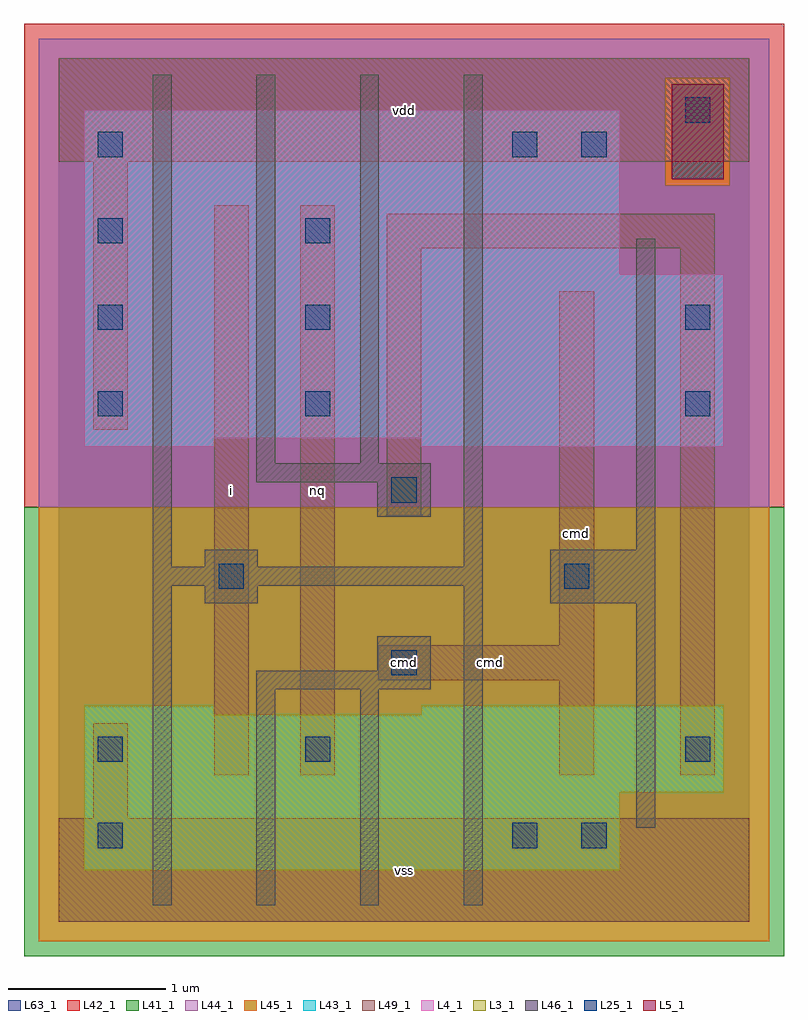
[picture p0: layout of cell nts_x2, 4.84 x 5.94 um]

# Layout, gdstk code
import gdstk
lib = gdstk.Library(unit=1e-6, precision=1e-09)
def R(c, l, rs):  # rectangles x0, y0, x1, y1
    for r in rs: c.add(gdstk.rectangle(r[:2], r[2:], *l))
def A(c, l, x, y, w, h, nx, ny, dx, dy):  # array of equal rectangles
    R(c, l, [(x+i*dx, y+j*dy, x+i*dx+w, y+j*dy+h) for i in range(nx) for j in range(ny)])
L3_1 = (3, 1)
L4_1 = (4, 1)
L5_1 = (5, 1)
L25_1 = (25, 1)
L41_1 = (41, 1)
L42_1 = (42, 1)
L43_1 = (43, 1)
L44_1 = (44, 1)
L45_1 = (45, 1)
L46_1 = (46, 1)
L49_1 = (49, 1)
L63_1 = (63, 1)

nts_x2 = lib.new_cell('nts_x2')
R(nts_x2, L3_1, [(0.165,0.33,3.575,0.825), (0.165,0.825,4.235,1.32), (0.165,1.32,0.99,1.375), (2.31,1.32,4.235,1.375)])
R(nts_x2, L4_1, [(0.165,3.025,0.99,3.08), (2.31,3.025,4.235,3.08), (0.165,3.08,4.235,4.125), (0.165,4.125,3.575,5.17)])
R(nts_x2, L5_1, [(3.905,4.73,4.235,5.335)])
A(nts_x2, L25_1, 0.25, 3.22, 0.16, 0.16, 1, 4, 0, 0.55)
A(nts_x2, L25_1, 1.57, 3.22, 0.16, 0.16, 1, 3, 0, 0.55)
R(nts_x2, L25_1, [(0.25,0.47,0.41,0.63), (2.89,0.47,3.05,0.63), (3.33,0.47,3.49,0.63), (0.25,1.02,0.41,1.18), (1.57,1.02,1.73,1.18), (3.99,1.02,4.15,1.18), (2.12,1.57,2.28,1.73), (1.02,2.12,1.18,2.28), (3.22,2.12,3.38,2.28), (2.12,2.67,2.28,2.83), (3.99,3.22,4.15,3.38), (3.99,3.77,4.15,3.93), (2.89,4.87,3.05,5.03), (3.33,4.87,3.49,5.03), (3.99,5.09,4.15,5.25)])
R(nts_x2, L41_1, [(-0.22,-0.22,4.62,2.64)])
R(nts_x2, L42_1, [(-0.22,2.64,4.62,5.72)])
R(nts_x2, L43_1, [(0.165,0.33,3.575,0.825), (0.165,0.825,4.235,1.32), (0.165,1.32,0.99,1.375), (2.31,1.32,4.235,1.375), (0.165,3.025,0.99,3.08), (2.31,3.025,4.235,3.08), (0.165,3.08,4.235,4.125), (0.165,4.125,3.575,5.17), (3.905,4.73,4.235,5.335)])
R(nts_x2, L44_1, [(-0.125,2.64,4.525,4.69), (-0.125,4.69,3.865,5.375), (4.275,4.69,4.525,5.375), (-0.125,5.375,4.525,5.625)])
R(nts_x2, L45_1, [(-0.125,-0.125,4.525,2.64), (3.865,4.69,4.275,5.375)])
R(nts_x2, L46_1, [(0.6,0.105,0.72,2.14), (1.26,0.105,1.38,1.48), (1.92,0.105,2.04,1.48), (2.58,0.105,2.7,2.14), (3.68,0.6,3.8,2.03), (1.26,1.48,2.37,1.6), (2.03,1.6,2.37,1.82), (0.93,2.03,1.27,2.14), (3.13,2.03,3.8,2.37), (0.6,2.14,2.7,2.26), (0.6,2.26,0.72,5.395), (0.93,2.26,1.27,2.37), (2.58,2.26,2.7,5.395), (3.68,2.37,3.8,4.35), (2.03,2.58,2.37,2.8), (1.26,2.8,2.37,2.92), (1.26,2.92,1.38,5.395), (1.92,2.92,2.04,5.395)])
R(nts_x2, L49_1, [(0,0,4.4,0.66), (0.22,0.66,0.44,1.265), (0.99,0.935,1.21,4.565), (1.54,0.935,1.76,4.565), (3.19,0.935,3.41,1.54), (3.96,0.935,4.18,4.29), (2.035,1.54,3.41,1.76), (3.19,1.76,3.41,4.015), (2.09,2.585,2.31,4.29), (0.22,3.135,0.44,4.84), (2.09,4.29,4.18,4.51), (0,4.84,4.4,5.5)])
R(nts_x2, L63_1, [(0,0,4.4,5.5)])
nts_x2.add(gdstk.Label('nq', (1.65,2.75), layer=49, texttype=1))
nts_x2.add(gdstk.Label('i', (1.1,2.75), layer=49, texttype=1))
nts_x2.add(gdstk.Label('vss', (2.2,0.33), layer=49, texttype=1))
nts_x2.add(gdstk.Label('cmd', (2.2,1.65), layer=49, texttype=1))
nts_x2.add(gdstk.Label('cmd', (2.75,1.65), layer=49, texttype=1))
nts_x2.add(gdstk.Label('vdd', (2.2,5.17), layer=49, texttype=1))
nts_x2.add(gdstk.Label('cmd', (3.3,2.475), layer=49, texttype=1))

lib.write_gds('nts_x2.gds')
